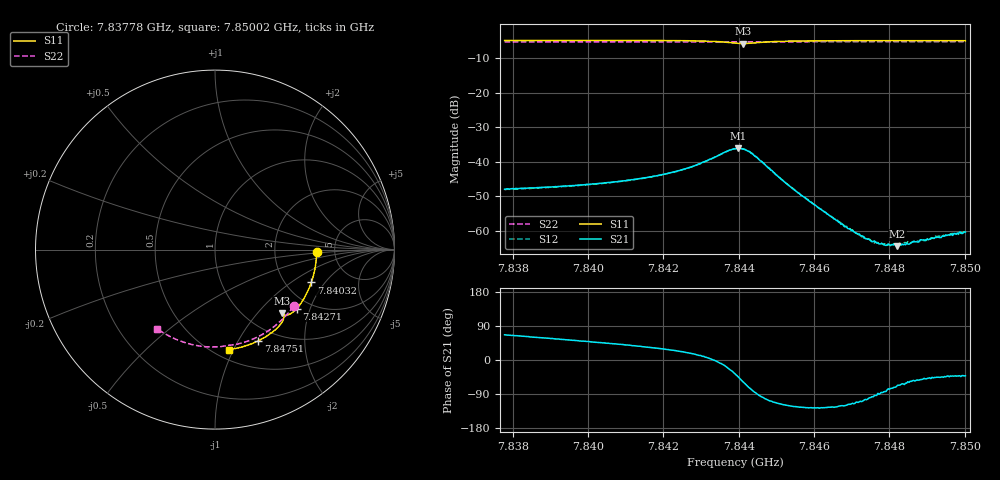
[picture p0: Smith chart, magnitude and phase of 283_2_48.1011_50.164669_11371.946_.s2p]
#  HZ  S  RI  R  50.00
! Rohde & Schwarz Vector Network Analyzer
! Rohde-Schwarz,ZNB20-2Port,1311601062101988,3.16
! Created: UTC 12/23/2023, 4:02:59 AM
! freq[Hz]  re:S11  im:S11  re:S21  im:S21  re:S12  im:S12  re:S22  im:S22
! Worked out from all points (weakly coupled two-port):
!   401 points, 7.83778 GHz to 7.85002 GHz, reference 50 ohm
!   highest |S21| = -36.04 dB at 7.84399 GHz (marker M1); lowest = -64.3 dB at 7.84821 GHz (marker M2)
!   lowest |S11| = -5.8 dB at 7.84411 GHz (marker M3), VSWR 3.10, Z = 71 - j68 ohm
!   |S11| at or under -10 dB: nowhere
!   |S22| runs from -5.4 to -5.3 dB; largest |S21 - S12| = 0.00031
!   S11 on the Smith chart (normalised r, x): 7.83778 GHz: 3.60, -0.17; 7.84032 GHz: 2.74, -1.47; 7.84271 GHz: 1.69, -1.62; 7.84751 GHz: 0.82, -1.22; 7.85002 GHz: 0.59, -0.96
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7.837783e9  0.5663 -0.0161  0.00161 0.00369  0.00162 0.00363  0.4377 -0.316
7.839832e9  0.5464 -0.1513  0.003 0.00354  0.00295 0.00356  0.3397 -0.4204
7.840322e9  0.5366 -0.1827  0.00341 0.00351  0.00334 0.00349  0.3126 -0.4413
7.841881e9  0.4911 -0.28  0.00553 0.00326  0.00548 0.00326  0.2178 -0.4958
7.842707e9  0.455 -0.3287  0.00794 0.00257  0.00791 0.00256  0.1633 -0.5161
7.843441e9  0.4077 -0.3637  0.0123 -0.00109  0.0122 -0.00079  0.113 -0.5286
7.8439e9  0.3741 -0.3611  0.0125 -0.00914  0.0125 -0.00915  0.0823 -0.5326
7.843992e9  0.3714 -0.3573  0.0111 -0.0112  0.0111 -0.0111  0.0766 -0.5333
7.844114e9  0.3718 -0.3526  0.00817 -0.0129  0.00835 -0.0129  0.0689 -0.5345
7.84442e9  0.3822 -0.3574  0.00107 -0.0121  0.00108 -0.0123  0.0494 -0.5379
7.845246e9  0.3669 -0.4136  -0.00241 -0.00433  -0.00241 -0.00437  -0.00839 -0.5428
7.845949e9  0.3313 -0.4507  -0.0015 -0.00203  -0.00149 -0.00207  -0.0581 -0.5406
7.846836e9  0.2811 -0.4866  -0.000581 -0.001  -0.000593 -0.00101  -0.1198 -0.5309
7.847264e9  0.2555 -0.5011  -0.000288 -0.000807  -0.000263 -0.000784  -0.149 -0.5237
7.847509e9  0.2408 -0.5085  -0.000113 -0.000714  -0.000122 -0.000717  -0.1654 -0.519
7.847723e9  0.2276 -0.5147  -4e-06 -0.000654  -5.45e-06 -0.000672  -0.1797 -0.5142
7.847998e9  0.2104 -0.522  0.000141 -0.000617  0.000157 -0.00061  -0.1978 -0.5077
7.848212e9  0.1971 -0.5273  0.000237 -0.000558  0.000234 -0.000576  -0.2119 -0.5021
7.848488e9  0.1798 -0.5336  0.000352 -0.000549  0.000363 -0.000604  -0.2296 -0.4945
7.848916e9  0.1523 -0.5418  0.000498 -0.000561  0.00047 -0.000561  -0.2566 -0.4814
7.849283e9  0.1285 -0.5479  0.000575 -0.000584  0.000594 -0.000593  -0.279 -0.4689
7.850017e9  0.0806 -0.5566  0.000724 -0.000648  0.000757 -0.000628  -0.3222 -0.4408
